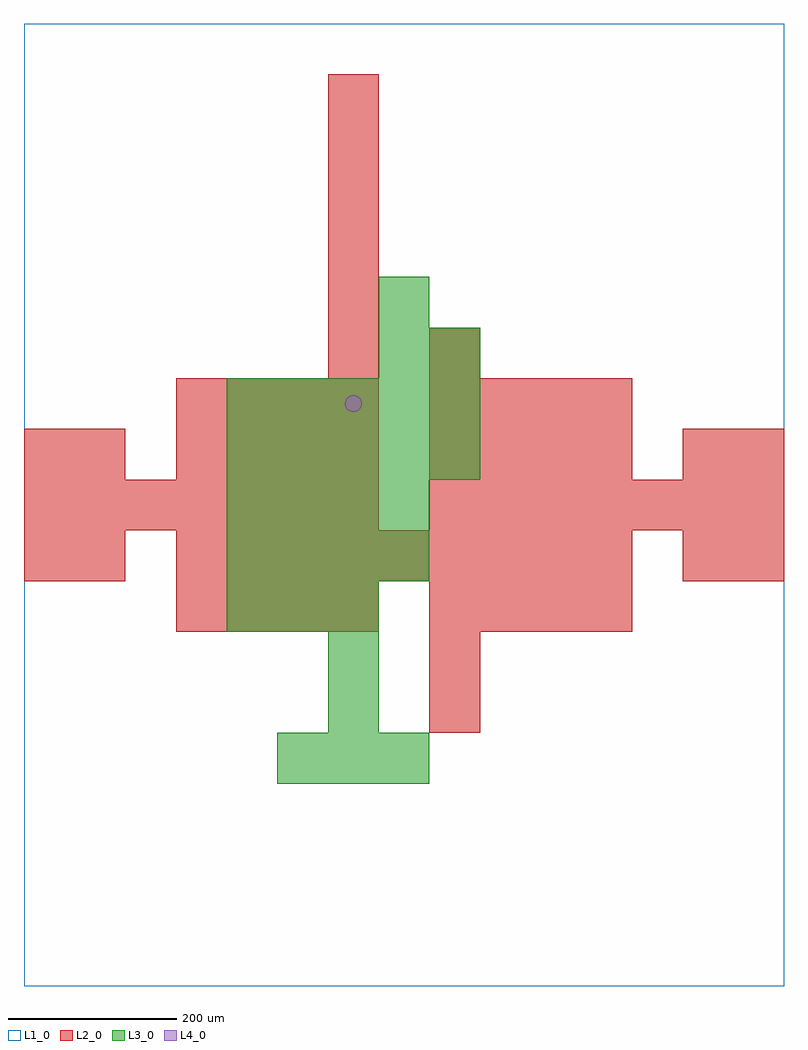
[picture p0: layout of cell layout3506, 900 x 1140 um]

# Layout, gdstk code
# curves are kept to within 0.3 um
import gdstk
lib = gdstk.Library(unit=1e-6, precision=1e-09)
def R(c, l, rs):  # rectangles x0, y0, x1, y1
    for r in rs: c.add(gdstk.rectangle(r[:2], r[2:], *l))
def A(c, l, x, y, w, h, nx, ny, dx, dy):  # array of equal rectangles
    R(c, l, [(x+i*dx, y+j*dy, x+i*dx+w, y+j*dy+h) for i in range(nx) for j in range(ny)])
def P(c, l, *ps):  # polygons
    for p in ps: c.add(gdstk.Polygon(p, *l))
L1_0 = (1, 0)
L2_0 = (2, 0)
L3_0 = (3, 0)
L4_0 = (4, 0)

layout3506 = lib.new_cell('layout3506')
R(layout3506, L1_0, [(0,0,900,1140)])
A(layout3506, L2_0, 180, 420, 60, 60, 4, 2, 60, 180)
A(layout3506, L2_0, 480, 420, 60, 60, 4, 2, 60, 180)
A(layout3506, L2_0, 180, 480, 60, 60, 9, 1, 60, 0)
A(layout3506, L2_0, 0, 540, 60, 60, 7, 1, 60, 0)
A(layout3506, L2_0, 480, 540, 60, 60, 7, 1, 60, 0)
A(layout3506, L2_0, 180, 660, 60, 60, 4, 1, 60, 0)
A(layout3506, L2_0, 480, 660, 60, 60, 4, 1, 60, 0)
A(layout3506, L2_0, 360, 720, 60, 60, 1, 6, 0, 60)
R(layout3506, L2_0, [(480,300,540,360), (480,360,540,420), (0,480,60,540), (60,480,120,540), (780,480,840,540), (840,480,900,540), (0,600,60,660), (60,600,120,660), (780,600,840,660), (840,600,900,660), (480,720,540,780)])
A(layout3506, L3_0, 300, 240, 60, 60, 3, 1, 60, 0)
A(layout3506, L3_0, 240, 420, 60, 60, 3, 1, 60, 0)
A(layout3506, L3_0, 240, 480, 60, 60, 4, 2, 60, 60)
A(layout3506, L3_0, 240, 600, 60, 60, 5, 2, 60, 60)
R(layout3506, L3_0, [(360,300,420,360), (360,360,420,420), (420,720,480,780), (480,720,540,780), (420,780,480,840)])
P(layout3506, L4_0, [(400,690),(399.239,693.827),(397.071,697.071),(393.827,699.239),(390,700),(386.173,699.239),(382.929,697.071),(380.761,693.827),(380,690),(380.761,686.173),(382.929,682.929),(386.173,680.761),(390,680),(393.827,680.761),(397.071,682.929),(399.239,686.173)])

lib.write_gds('layout3506.gds')
